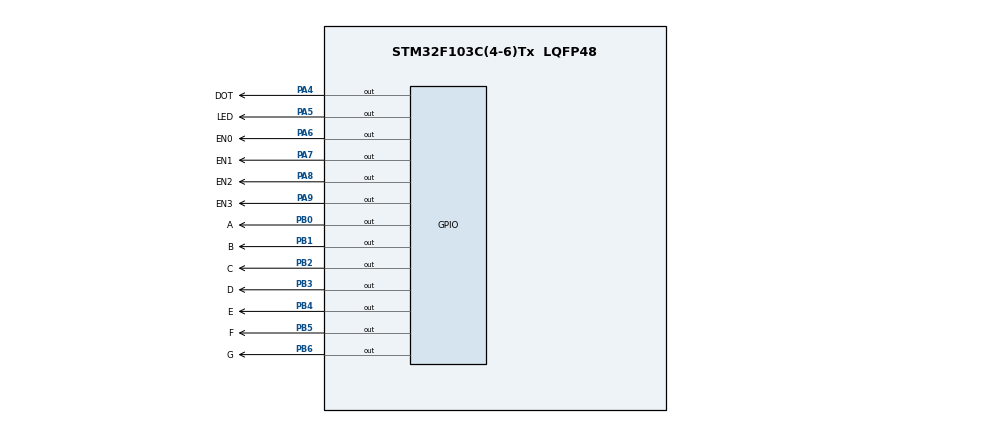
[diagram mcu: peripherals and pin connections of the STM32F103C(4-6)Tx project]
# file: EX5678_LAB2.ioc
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Mcu.Family=STM32F1
Mcu.Name=STM32F103C(4-6)Tx
Mcu.Package=LQFP48
NVIC.PriorityGroup=NVIC_PRIORITYGROUP_4
NVIC.TIM2_IRQn=true\:0\:0\:false\:false\:true\:true\:true\:true
PA4.GPIO_Label=DOT
PA4.Signal=GPIO_Output
PA5.GPIO_Label=LED
PA5.Signal=GPIO_Output
PA6.GPIO_Label=EN0
PA6.Signal=GPIO_Output
PA7.GPIO_Label=EN1
PA7.Signal=GPIO_Output
PA8.GPIO_Label=EN2
PA8.Signal=GPIO_Output
PA9.GPIO_Label=EN3
PA9.Signal=GPIO_Output
PB0.GPIO_Label=A
PB0.Signal=GPIO_Output
PB1.GPIO_Label=B
PB1.Signal=GPIO_Output
PB2.GPIO_Label=C
PB2.Signal=GPIO_Output
PB3.GPIO_Label=D
PB3.Signal=GPIO_Output
PB4.GPIO_Label=E
PB4.Signal=GPIO_Output
PB5.GPIO_Label=F
PB5.Signal=GPIO_Output
PB6.GPIO_Label=G
PB6.Signal=GPIO_Output
ProjectManager.HeapSize=0x200
ProjectManager.StackSize=0x400
ProjectManager.TargetToolchain=STM32CubeIDE
RCC.APB1Freq_Value=8000000
RCC.APB2Freq_Value=8000000
TIM2.Period=9
TIM2.Prescaler=7999
VP_SYS_VS_ND.Mode=No_Debug
VP_TIM2_VS_ClockSourceINT.Mode=Internal
board=custom

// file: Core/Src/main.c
/* USER CODE BEGIN Header */
/**
  ******************************************************************************
  * @file           : main.c
  * @brief          : Main program body
  ******************************************************************************
  * @attention
  *
  * Copyright (c) 2025 STMicroelectronics.
  * All rights reserved.
  *
  * This software is licensed under terms that can be found in the LICENSE file
  * in the root directory of this software component.
  * If no LICENSE file comes with this software, it is provided AS-IS.
  *
  ******************************************************************************
  */
/* USER CODE END Header */
#include "main.h"

TIM_HandleTypeDef htim2;

void SystemClock_Config(void);
static void MX_GPIO_Init(void);
static void MX_TIM2_Init(void);

/* USER CODE BEGIN 0 */
#define MAX_LED 4U
#define SCAN_TICKS 25U
#define DOT_TICKS 100U

#define TIMER_CYCLE 10U

static volatile uint16_t timer0_counter = 0U;
static volatile uint8_t timer0_flag = 0U;

static volatile uint16_t timer1_counter = 0U;
static volatile uint8_t timer1_flag = 0U;

static volatile uint8_t index_led = 0U;
static volatile uint16_t scan_counter = 0U;
static volatile uint16_t dot_counter = 0U;

static uint8_t hour = 15U;
static uint8_t minute = 8U;
static uint8_t second = 50U;

#define SEG_ALL_PINS (GPIO_PIN_0 | GPIO_PIN_1 | GPIO_PIN_2 | \
                      GPIO_PIN_3 | GPIO_PIN_4 | GPIO_PIN_5 | \
                      GPIO_PIN_6)

#define DIGIT_ALL_PINS (GPIO_PIN_6 | GPIO_PIN_7 | \
                        GPIO_PIN_8 | GPIO_PIN_9)

static const uint8_t segPattern[10] =
{
    0x3FU, // 0
    0x06U, // 1
    0x5BU, // 2
    0x4FU, // 3
    0x66U, // 4
    0x6DU, // 5
    0x7DU, // 6
    0x07U, // 7
    0x7FU, // 8
    0x6FU  // 9
};

static const uint16_t digitEnablePins[MAX_LED] =
{
    GPIO_PIN_6, // index 0 → EN0 → PA6
    GPIO_PIN_7, // index 1 → EN1 → PA7
    GPIO_PIN_8, // index 2 → EN2 → PA8
    GPIO_PIN_9  // index 3 → EN3 → PA9
};

static uint8_t ledBuffer[MAX_LED] =
{
    1U, // Digit 0
    5U, // Digit 1
    0U, // Digit 2
    8U  // Digit 3
};

static void setTimer0(uint16_t duration)
{
    timer0_counter = duration / TIMER_CYCLE;
    timer0_flag = 0U;
}

static void setTimer1(uint16_t duration)
{
    timer1_counter = duration / TIMER_CYCLE;
    timer1_flag = 0U;
}

static void timer_run(void)
{
    if (timer0_counter > 0U)
    {
        timer0_counter--;

        if (timer0_counter == 0U)
        {
            timer0_flag = 1U;
        }
    }

    if (timer1_counter > 0U)
    {
        timer1_counter--;

        if (timer1_counter == 0U)
        {
            timer1_flag = 1U;
        }
    }
}

static void disableAllDigits(void)
{
    HAL_GPIO_WritePin(
        GPIOA,
        DIGIT_ALL_PINS,
        GPIO_PIN_SET
    );
}

static void display7SEG(uint8_t number)
{
    if (number > 9U)
    {
        return;
    }

    HAL_GPIO_WritePin(
        GPIOB,
        SEG_ALL_PINS,
        GPIO_PIN_SET
    );

    HAL_GPIO_WritePin(
        GPIOB,
        (uint16_t)segPattern[number],
        GPIO_PIN_RESET
    );
}

static void update7SEG(uint8_t index)
{
    if (index > MAX_LED)
    {
        return;
    }

    disableAllDigits();
    display7SEG(ledBuffer[index]);
    HAL_GPIO_WritePin(
        GPIOA,
        digitEnablePins[index],
        GPIO_PIN_RESET
    );
}

static void updateClockBuffer(void)
{
    ledBuffer[0] = hour / 10U;
    ledBuffer[1] = hour % 10U;

    ledBuffer[2] = minute / 10U;
    ledBuffer[3] = minute % 10U;
}

static void increaseClockOneSecond(void)
{
    second++;

    if (second >= 60U)
    {
        second = 0U;
        minute++;
    }

    if (minute >= 60U)
    {
        minute = 0U;
        hour++;
    }

    if (hour >= 24U)
    {
        hour = 0U;
    }
}

/* USER CODE END 0 */

int main(void)
{

  /* MCU Configuration--------------------------------------------------------*/

  /* Reset of all peripherals, Initializes the Flash interface and the Systick. */
  HAL_Init();

  /* Configure the system clock */
  SystemClock_Config();

  /* Initialize all configured peripherals */
  MX_GPIO_Init();
  MX_TIM2_Init();
  /* USER CODE BEGIN 2 */
  disableAllDigits();

  HAL_GPIO_WritePin(
      GPIOA,
      GPIO_PIN_4,
      GPIO_PIN_SET
  );

  updateClockBuffer();

  index_led = 0U;
  update7SEG(index_led);

  setTimer0(1000U);

  setTimer1(250U);

  HAL_TIM_Base_Start_IT(&htim2);
  /* USER CODE END 2 */

  /* Infinite loop */
  /* USER CODE BEGIN WHILE */
  while (1)
  {
	    if (timer0_flag == 1U)
	    {
	        increaseClockOneSecond();
	        updateClockBuffer();

	        HAL_GPIO_TogglePin(
	            GPIOA,
	            GPIO_PIN_4
	        );

	        setTimer0(1000U);
	    }

	    if (timer1_flag == 1U)
	    {
	        index_led++;

	        if (index_led >= MAX_LED)
	        {
	            index_led = 0U;
	        }

	        update7SEG(index_led);

	        setTimer1(250U);
	    }
    /* USER CODE END WHILE */

  }
}

void SystemClock_Config(void)
{
  RCC_OscInitTypeDef RCC_OscInitStruct = {0};
  RCC_ClkInitTypeDef RCC_ClkInitStruct = {0};

  /** Initializes the RCC Oscillators according to the specified parameters
  * in the RCC_OscInitTypeDef structure.
  */
  RCC_OscInitStruct.OscillatorType = RCC_OSCILLATORTYPE_HSI;
  RCC_OscInitStruct.HSIState = RCC_HSI_ON;
  RCC_OscInitStruct.HSICalibrationValue = RCC_HSICALIBRATION_DEFAULT;
  RCC_OscInitStruct.PLL.PLLState = RCC_PLL_NONE;
  if (HAL_RCC_OscConfig(&RCC_OscInitStruct) != HAL_OK)
  {
    Error_Handler();
  }

  /** Initializes the CPU, AHB and APB buses clocks
  */
  RCC_ClkInitStruct.ClockType = RCC_CLOCKTYPE_HCLK|RCC_CLOCKTYPE_SYSCLK
                              |RCC_CLOCKTYPE_PCLK1|RCC_CLOCKTYPE_PCLK2;
  RCC_ClkInitStruct.SYSCLKSource = RCC_SYSCLKSOURCE_HSI;
  RCC_ClkInitStruct.AHBCLKDivider = RCC_SYSCLK_DIV1;
  RCC_ClkInitStruct.APB1CLKDivider = RCC_HCLK_DIV1;
  RCC_ClkInitStruct.APB2CLKDivider = RCC_HCLK_DIV1;

  if (HAL_RCC_ClockConfig(&RCC_ClkInitStruct, FLASH_LATENCY_0) != HAL_OK)
  {
    Error_Handler();
  }
}

static void MX_TIM2_Init(void)
{

  TIM_ClockConfigTypeDef sClockSourceConfig = {0};
  TIM_MasterConfigTypeDef sMasterConfig = {0};

  htim2.Instance = TIM2;
  htim2.Init.Prescaler = 7999;
  htim2.Init.CounterMode = TIM_COUNTERMODE_UP;
  htim2.Init.Period = 9;
  htim2.Init.ClockDivision = TIM_CLOCKDIVISION_DIV1;
  htim2.Init.AutoReloadPreload = TIM_AUTORELOAD_PRELOAD_DISABLE;
  if (HAL_TIM_Base_Init(&htim2) != HAL_OK)
  {
    Error_Handler();
  }
  sClockSourceConfig.ClockSource = TIM_CLOCKSOURCE_INTERNAL;
  if (HAL_TIM_ConfigClockSource(&htim2, &sClockSourceConfig) != HAL_OK)
  {
    Error_Handler();
  }
  sMasterConfig.MasterOutputTrigger = TIM_TRGO_RESET;
  sMasterConfig.MasterSlaveMode = TIM_MASTERSLAVEMODE_DISABLE;
  if (HAL_TIMEx_MasterConfigSynchronization(&htim2, &sMasterConfig) != HAL_OK)
  {
    Error_Handler();
  }

}

static void MX_GPIO_Init(void)
{
  GPIO_InitTypeDef GPIO_InitStruct = {0};

  /* GPIO Ports Clock Enable */
  __HAL_RCC_GPIOA_CLK_ENABLE();
  __HAL_RCC_GPIOB_CLK_ENABLE();

  /*Configure GPIO pin Output Level */
  HAL_GPIO_WritePin(GPIOA, DOT_Pin|LED_Pin|EN0_Pin|EN1_Pin|EN2_Pin|EN3_Pin, GPIO_PIN_SET);

  /*Configure GPIO pin Output Level */
  HAL_GPIO_WritePin(GPIOB, A_Pin|B_Pin|C_Pin|D_Pin
                          |E_Pin|F_Pin|G_Pin, GPIO_PIN_RESET);

  /*Configure GPIO pins : DOT_Pin LED_Pin EN0_Pin EN1_Pin
                           EN2_Pin EN3_Pin */
  GPIO_InitStruct.Pin = DOT_Pin|LED_Pin|EN0_Pin|EN1_Pin
                          |EN2_Pin|EN3_Pin;
  GPIO_InitStruct.Mode = GPIO_MODE_OUTPUT_PP;
  GPIO_InitStruct.Pull = GPIO_NOPULL;
  GPIO_InitStruct.Speed = GPIO_SPEED_FREQ_LOW;
  HAL_GPIO_Init(GPIOA, &GPIO_InitStruct);

  /*Configure GPIO pins : A_Pin B_Pin C_Pin D_Pin
                           E_Pin F_Pin G_Pin */
  GPIO_InitStruct.Pin = A_Pin|B_Pin|C_Pin|D_Pin
                          |E_Pin|F_Pin|G_Pin;
  GPIO_InitStruct.Mode = GPIO_MODE_OUTPUT_PP;
  GPIO_InitStruct.Pull = GPIO_NOPULL;
  GPIO_InitStruct.Speed = GPIO_SPEED_FREQ_LOW;
  HAL_GPIO_Init(GPIOB, &GPIO_InitStruct);

}

/* USER CODE BEGIN 4 */
void HAL_TIM_PeriodElapsedCallback(TIM_HandleTypeDef *htim)
{
    if (htim->Instance == TIM2)
    {
        timer_run();
    }
}
/* USER CODE END 4 */

void Error_Handler(void)
{
  __disable_irq();
  while (1)
  {
  }
}
